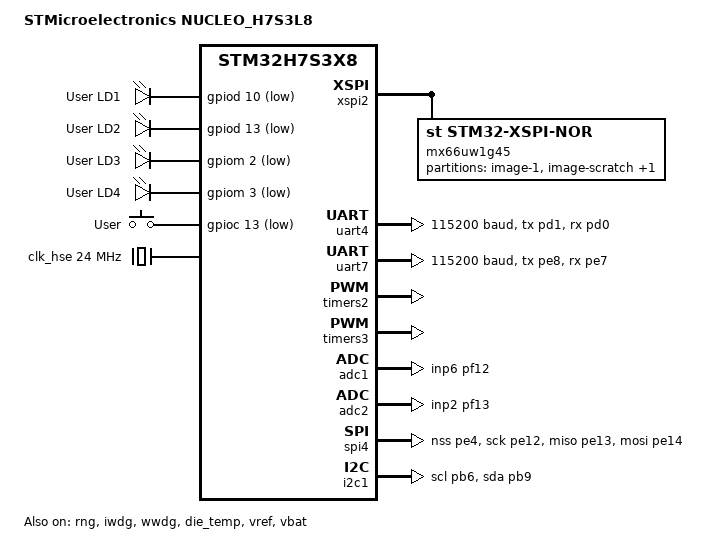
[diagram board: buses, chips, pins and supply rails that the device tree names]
/*
 * Copyright (c) 2024 STMicroelectronics
 *
 * SPDX-License-Identifier: Apache-2.0
 */

/dts-v1/;
#include <st/h7rs/stm32h7s3X8.dtsi>
#include <st/h7/stm32h7s3l8hx-pinctrl.dtsi>
#include "arduino_r3_connector.dtsi"
#include <zephyr/dt-bindings/input/input-event-codes.h>

/ {
	model = "STMicroelectronics NUCLEO_H7S3L8";
	compatible = "st,nucleo_h7s3l8";

	chosen {
		zephyr,console = &uart4;
		zephyr,shell-uart = &uart4;
		zephyr,flash = &flash0;
		zephyr,sram = &sram0;
		zephyr,flash-controller = &mx66uw1g45;
		// zephyr,code-partition = &slot0_partition;
	};

	// ext_memory: memory@70000000 {
	// 	compatible = "zephyr,memory-region";
	// 	reg = <0x70000000 DT_SIZE_M(256)>; /* max addressable area */
	// 	zephyr,memory-region = "EXTFLASH";
	// 	/* The ATTR_MPU_EXTMEM attribut causing a MPU FAULT */
	// 	zephyr,memory-attr = <( DT_MEM_ARM(ATTR_MPU_IO) )>;
	// };

	leds {
		 compatible = "gpio-leds";
		 green_led: led_1 {
			 gpios = <&gpiod 10 GPIO_ACTIVE_LOW>;
			 label = "User LD1";
		 };
		 orange_led: led_2 {
			 gpios = <&gpiod 13 GPIO_ACTIVE_LOW>;
			 label = "User LD2";
		 };
		 red_led: led_3 {
			 gpios = <&gpiom 2 GPIO_ACTIVE_LOW>;
			 label = "User LD3";
		 };
		 blue_led: led_4 {
			 gpios = <&gpiom 3 GPIO_ACTIVE_LOW>;
			 label = "User LD4";
		 };
	 };

	gpio_keys {
		compatible = "gpio-keys";
		user_button: button {
			label = "User";
			gpios = <&gpioc 13 GPIO_ACTIVE_LOW>;
			zephyr,code = <INPUT_KEY_0>;
		};
	};

	aliases {
		led0 = &orange_led;
		sw0 = &user_button;
		watchdog0 = &iwdg;
		die-temp0 = &die_temp;
		volt-sensor0 = &vref;
		volt-sensor1 = &vbat;
		spi-flash0 = &mx66uw1g45;
	};
};

// &flash0 {
//     partitions {
//         compatible = "fixed-partitions";
//         #address-cells = <1>;
//         #size-cells = <1>;

//         /*
//          * Following flash partition is dedicated to the use of nucleo_u575ziq
//          * with TZEN=0 (so w/o TFM).
//          * Set the partitions with first MB to make use of the whole Bank1
//          */
//         boot_partition: partition@0 {
//             label = "mcuboot";
//             reg = <0x00000000 DT_SIZE_K(48)>;
//         };
//         slot0_partition: partition@c000 {
//             label = "image-0";
//             reg = <0x0000c000 DT_SIZE_K(640)>;
//         };
//         slot1_partition: partition@ac000 {
//             label = "image-1";
//             reg = <0x000ac000 DT_SIZE_K(640)>;
//         };
//         scratch_partition: partition@14c000 {
//             label = "image-scratch";
//             reg = <0x0014C000 DT_SIZE_K(64)>;
//         };
//         storage_partition: partition@15c000 {
//             label = "storage";
//             reg = <0x0015c000 DT_SIZE_K(64)>;
//         };
//         certs_partition: partition@16c000 {
//             label = "certs_storage";
//             reg = <0x0016c000 DT_SIZE_K(16)>;
//         };
//     };
// };

&flash0 {
	partitions {
		compatible = "fixed-partitions";
		#address-cells = <1>;
		#size-cells = <1>;

		boot_partition: partition@0 {
			label = "mcuboot";
			reg = <0x00000000 DT_SIZE_K(64)>;
		};
	};
};

&flash0 {
	partitions {
		compatible = "fixed-partitions";
		#address-cells = <1>;
		#size-cells = <1>;

		/* Set the partitions with first MB to make use of the whole Bank1 */
		boot_partition: partition@0 {
			label = "mcuboot";
			reg = <0x00000000 DT_SIZE_K(64)>;
		};
		/* Dummy slot0 out of the internal flash area just for sysbuild */
		slot0_partition: partition@10000 {
				label = "image-0";
				reg = <0x00010000 DT_SIZE_K(416)>;
		};
	};
};

&xspi2 {
	pinctrl-0 = <&xspim_p2_clk_pn6 &xspim_p2_ncs1_pn1
		     &xspim_p2_io0_pn2 &xspim_p2_io1_pn3
		     &xspim_p2_io2_pn4 &xspim_p2_io3_pn5
		     &xspim_p2_io4_pn8 &xspim_p2_io5_pn9
		     &xspim_p2_io6_pn10 &xspim_p2_io7_pn11
		     &xspim_p2_dqs0_pn0>;
	pinctrl-names = "default";

	status = "okay";

	mx66uw1g45: xspi-nor-flash@70000000 {
		compatible = "st,stm32-xspi-nor";
		reg = <0x70000000 DT_SIZE_M(128)>; /* 1 Gbits */
		ospi-max-frequency = <DT_FREQ_M(50)>;
		spi-bus-width = <XSPI_OCTO_MODE>;
		data-rate = <XSPI_DTR_TRANSFER>;
		status = "okay";

		partitions {
			compatible = "fixed-partitions";
			#address-cells = <1>;
			#size-cells = <1>;

			slot1_partition: partition@0 {
				label = "image-1";
				reg = <0x00000000 DT_SIZE_K(416)>;
			};
			scratch_partition: partition@e0000 {
				label = "image-scratch";
				reg = <0x000e0000 DT_SIZE_K(64)>;
			};
			storage_partition: partition@f0000 {
				label = "storage";
				reg = <0x000f0000 DT_SIZE_K(64)>;
			};
		};
	};
};

&clk_hsi48 {
	status = "okay";
};

&clk_lse {
	status = "okay";
};

&clk_hse {
	clock-frequency = <DT_FREQ_M(24)>;
	// hse-bypass; /* X3 is a 24MHz oscillator on PH0 */
	status = "okay";
};

&pll {
	div-m = <12>;
	mul-n = <250>;
	div-p = <2>;
	div-q = <2>;
	div-r = <2>;
	div-s = <2>;
	div-t = <2>;
	clocks = <&clk_hse>;
	status = "okay";
};

&rcc {
	clocks = <&pll>;
	clock-frequency = <DT_FREQ_M(250)>;
	dcpre = <1>;
	hpre = <1>;
	ppre1 = <2>;
	ppre2 = <2>;
	ppre4 = <2>;
	ppre5 = <2>;
};

&uart4 {
	pinctrl-0 = <&uart4_tx_pd1 &uart4_rx_pd0>;
	pinctrl-names = "default";
	current-speed = <115200>;
	status = "okay";
};

&uart7 {
	pinctrl-0 = <&uart7_tx_pe8 &uart7_rx_pe7>;
	pinctrl-names = "default";
	current-speed = <115200>;
	status = "okay";
};

&timers2 {
	st,prescaler = <10000>;
	status = "okay";

	pwm2: pwm {
		status = "okay";
		pinctrl-0 = <&tim2_ch4_pa3>;
		pinctrl-names = "default";
	};
};

&timers3 {
	st,prescaler = <10000>;
	status = "okay";

	pwm3: pwm {
		status = "okay";
		pinctrl-0 = <&tim3_ch2_pb5>;
		pinctrl-names = "default";
	};
};

// zephyr_udc0: &usbotg_hs {
// 	status = "okay";
// 	pinctrl-0 = <&usb_otg_hs_dm_pm5 &usb_otg_hs_dp_pm6>;
// 	pinctrl-names = "default";
// };

&rng {
	status = "okay";
};

&iwdg {
	status = "okay";
};

&wwdg {
	status = "okay";
};

&adc1 {
	pinctrl-0 = <&adc1_inp6_pf12>; /* Arduino A3 */
	pinctrl-names = "default";
	st,adc-clock-source = <SYNC>;
	st,adc-prescaler = <4>;
	status = "okay";
};

&adc2 {
	pinctrl-0 = <&adc2_inp2_pf13>; /* Arduino A4 */
	pinctrl-names = "default";
	st,adc-clock-source = <SYNC>;
	st,adc-prescaler = <4>;
	status = "okay";
};

&spi4 {
	pinctrl-0 = <&spi4_nss_pe4 &spi4_sck_pe12
		     &spi4_miso_pe13 &spi4_mosi_pe14>;
	pinctrl-names = "default";
	status = "okay";
};

&i2c1 {
	pinctrl-0 = <&i2c1_scl_pb6 &i2c1_sda_pb9>;
	pinctrl-names = "default";
};

&die_temp {
	status = "okay";
};

&vref {
	status = "okay";
};

&vbat {
	status = "okay";
};
